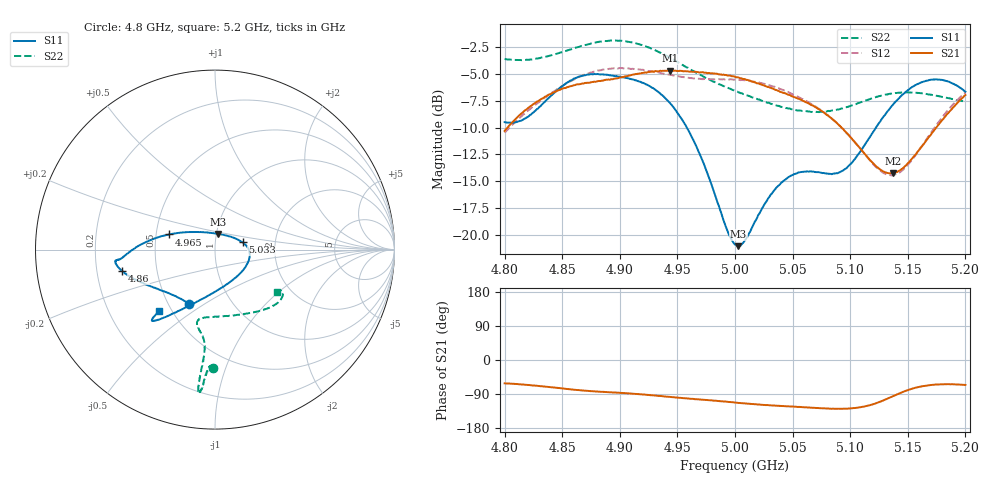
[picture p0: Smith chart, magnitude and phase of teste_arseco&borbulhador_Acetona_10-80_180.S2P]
! Network Analyzer HP8722D
! Hewlett-Packard
! Data name: Linha & Wilkinson
! Saver's name: Rodrigo Anjos
! Comments: Teste da utilização de aquisição
! continua pelo VNA HP8722D
! Time and date: 17/4/2025 15:51
!  Frequency  S11  S21  S12  S22
# HZ  S  MA R 50
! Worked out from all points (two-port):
!   401 points, 4.8 GHz to 5.2 GHz, reference 50 ohm
!   highest |S21| = -4.72 dB at 4.944 GHz (marker M1); lowest = -14.3 dB at 5.137 GHz (marker M2)
!   |S21| within 3 dB of the highest: 4.826 GHz to 5.063 GHz (236.9 MHz wide, 4.79 % of centre); 5.193018 GHz to end of sweep
!   lowest |S11| = -21.0 dB at 5.003 GHz (marker M3), VSWR 1.20, Z = 50.8 + j8.97 ohm
!   |S11| at or under -10 dB: 4.958 GHz to 5.122 GHz (164.3 MHz wide, 3.26 % of centre)
!   |S22| runs from -8.6 to -1.9 dB; largest |S21 - S12| = 0.87
!   S11 on the Smith chart (normalised r, x): 4.8 GHz: 0.63, -0.43; 4.86 GHz: 0.31, -0.10; 4.965 GHz: 0.59, +0.11; 5.033 GHz: 1.36, +0.11; 5.2 GHz: 0.43, -0.37
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4.8e9  0.3349 -115.5  0.3051 -61.6  0.2993 -175.9  0.6581 -90.8
4.819e9  0.3518 -135.6  0.3837 -65.6  0.3729 -175.1  0.6527 -92.5
4.86e9  0.5328 -167.1  0.4967 -78.2  0.5274 -178.4  0.7366 -94.8
4.867e9  0.5489 -169.8  0.5059 -80.2  0.5484 -179.6  0.7574 -95.1
4.9e9  0.5445 -174.0  0.5397 -86.7  0.5969 174.1  0.8001 -96.4
4.934e9  0.4599 -179.9  0.577 -94.9  0.5695 170.7  0.7073 -96.7
4.944e9  0.408 175.6  0.5805 -97.6  0.5542 170.9  0.6652 -96.5
4.965e9  0.2686 161.6  0.5747 -103.3  0.5342 172.7  0.573 -95.9
4.993e9  0.1064 116.1  0.5527 -110.3  0.5287 175.0  0.4861 -98.4
5e9  0.09053 91.7  0.5432 -112.3  0.5279 175.0  0.4685 -99.7
5.003e9  0.08898 80.1  0.5398 -113.2  0.5266 174.9  0.4606 -100.7
5.009e9  0.09528 59.0  0.5292 -114.7  0.5245 174.7  0.4487 -101.8
5.033e9  0.1591 14.7  0.4794 -120.1  0.4896 173.6  0.4049 -103.5
5.049e9  0.1896 -0.9  0.4422 -122.7  0.4542 173.1  0.3843 -99.2
5.067e9  0.1974 -20.1  0.4011 -126.0  0.4043 172.8  0.3735 -89.3
5.096e9  0.2035 -70.6  0.3019 -128.5  0.3022 174.6  0.3922 -66.7
5.121e9  0.3073 -109.2  0.2126 -115.8  0.211 -170.5  0.4357 -49.6
5.134e9  0.3853 -119.5  0.1939 -99.7  0.1901 -152.7  0.4531 -43.2
5.137e9  0.4025 -121.3  0.1935 -95.6  0.1904 -147.9  0.4559 -41.9
5.15e9  0.4708 -126.7  0.2157 -79.4  0.2119 -129.2  0.4603 -37.2
5.17e9  0.5267 -131.1  0.2926 -66.0  0.2983 -112.2  0.4492 -32.7
5.2e9  0.4635 -132.2  0.4474 -65.8  0.4595 -107.8  0.4164 -34.4
